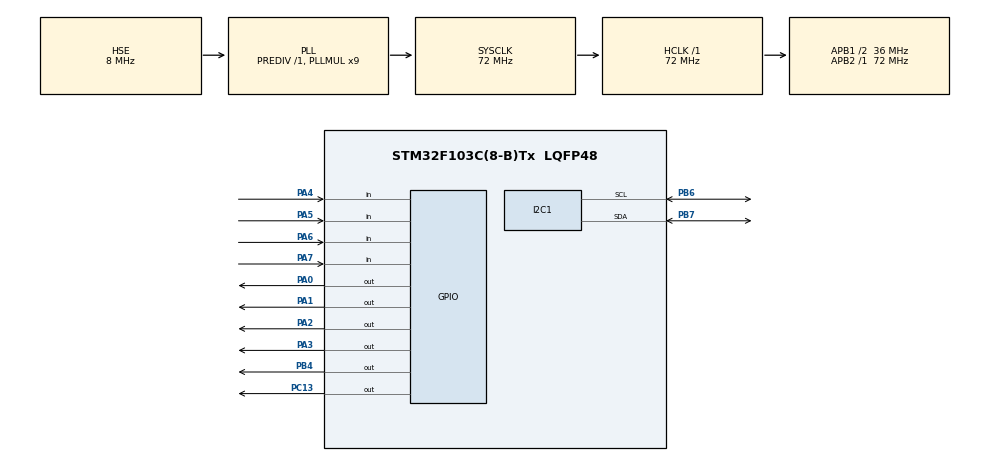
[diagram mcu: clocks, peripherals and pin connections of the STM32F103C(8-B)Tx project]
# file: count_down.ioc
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Mcu.Family=STM32F1
Mcu.Name=STM32F103C(8-B)Tx
Mcu.Package=LQFP48
NVIC.PriorityGroup=NVIC_PRIORITYGROUP_4
NVIC.TIM1_BRK_IRQn=true\:0\:0\:false\:false\:true\:true\:true
NVIC.TIM2_IRQn=true\:0\:0\:false\:false\:true\:true\:true
PA0-WKUP.GPIO_Speed=GPIO_SPEED_FREQ_LOW
PA0-WKUP.PinState=GPIO_PIN_SET
PA0-WKUP.Signal=GPIO_Output
PA1.GPIO_Speed=GPIO_SPEED_FREQ_LOW
PA1.PinState=GPIO_PIN_SET
PA1.Signal=GPIO_Output
PA13.Mode=Serial_Wire
PA13.Signal=SYS_JTMS-SWDIO
PA14.Mode=Serial_Wire
PA14.Signal=SYS_JTCK-SWCLK
PA2.PinState=GPIO_PIN_SET
PA2.Signal=GPIO_Output
PA3.PinState=GPIO_PIN_SET
PA3.Signal=GPIO_Output
PA4.GPIO_PuPd=GPIO_PULLDOWN
PA4.Signal=GPIO_Input
PA5.GPIO_PuPd=GPIO_PULLDOWN
PA5.Signal=GPIO_Input
PA6.GPIO_PuPd=GPIO_PULLDOWN
PA6.Signal=GPIO_Input
PA7.GPIO_PuPd=GPIO_PULLDOWN
PA7.Signal=GPIO_Input
PB4.GPIO_Speed=GPIO_SPEED_FREQ_HIGH
PB4.PinState=GPIO_PIN_SET
PB4.Signal=GPIO_Output
PB6.Mode=I2C
PB6.Signal=I2C1_SCL
PB7.Mode=I2C
PB7.Signal=I2C1_SDA
PC13-TAMPER-RTC.Signal=GPIO_Output
PD0-OSC_IN.Mode=HSE-External-Oscillator
PD0-OSC_IN.Signal=RCC_OSC_IN
PD1-OSC_OUT.Mode=HSE-External-Oscillator
PD1-OSC_OUT.Signal=RCC_OSC_OUT
ProjectManager.HeapSize=0x200
ProjectManager.StackSize=0x400
ProjectManager.TargetToolchain=MDK-ARM V5
RCC.AHBFreq_Value=72000000
RCC.APB1CLKDivider=RCC_HCLK_DIV2
RCC.APB1Freq_Value=36000000
RCC.APB1TimFreq_Value=72000000
RCC.APB2Freq_Value=72000000
RCC.APB2TimFreq_Value=72000000
RCC.HCLKFreq_Value=72000000
RCC.PLLMUL=RCC_PLL_MUL9
RCC.PLLSourceVirtual=RCC_PLLSOURCE_HSE
RCC.SYSCLKFreq_VALUE=72000000
RCC.SYSCLKSource=RCC_SYSCLKSOURCE_PLLCLK
RCC.USBFreq_Value=72000000
TIM1.Period=1999
TIM1.Prescaler=36000
TIM2.Period=1999
TIM2.Prescaler=36000
VP_TIM1_VS_ClockSourceINT.Mode=Internal
VP_TIM2_VS_ClockSourceINT.Mode=Internal
board=custom

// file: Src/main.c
/* USER CODE BEGIN Header */
/**
  ******************************************************************************
  * @file           : main.c
  * @brief          : Main program body
  ******************************************************************************
  * @attention
  *
  * <h2><center>&copy; Copyright (c) 2020 STMicroelectronics.
  * All rights reserved.</center></h2>
  *
  * This software component is licensed by ST under BSD 3-Clause license,
  * the "License"; You may not use this file except in compliance with the
  * License. You may obtain a copy of the License at:
  *                        opensource.org/licenses/BSD-3-Clause
  *
  ******************************************************************************
  */
/* USER CODE END Header */

#include "main.h"

I2C_HandleTypeDef hi2c1;

TIM_HandleTypeDef htim1;
TIM_HandleTypeDef htim2;

/* USER CODE BEGIN PV */
char text[1] = "";
char seconds_s[8] = "0";
char* status="";
int minutes=0,seconds=0, flag_led=0,flag_set=0,flag_clr=0,flag_time=0;
int array[6];
int i=0,dv;
int j=11;
/* USER CODE END PV */

void SystemClock_Config(void);
static void MX_GPIO_Init(void);
static void MX_I2C1_Init(void);
static void MX_TIM1_Init(void);
static void MX_TIM2_Init(void);

/* USER CODE BEGIN 0 */
int keyboard(int delay);     //
void clear()
{
	if(flag_clr==1)
	{
		lcd_clear_display();
		flag_clr=0;
	}

}
void clear_time()
{
	if(flag_time==1)
	{
		seconds=0;
		minutes=0;
		dv=0;
		for(int i=0;i<7;i++)
		{
			array[i]=0;
		}
		flag_time=0;
	}

}
int convert()
{
	 j-=2;
	 for(int k=11;k<=j;k++)
	 {
			dv+=array[j-k]*pow(10,(k-11));
	 }
	 return dv;
}
/* USER CODE END 0 */

int main(void)
{

  /* MCU Configuration--------------------------------------------------------*/

  /* Reset of all peripherals, Initializes the Flash interface and the Systick. */
  HAL_Init();

  /* Configure the system clock */
  SystemClock_Config();

  /* Initialize all configured peripherals */
  MX_GPIO_Init();
  MX_I2C1_Init();
  MX_TIM1_Init();
  MX_TIM2_Init();
  /* USER CODE BEGIN 2 */
	HAL_TIM_Base_Start_IT(&htim2);
	HAL_Delay(1000);

	lcd_init();
	j=11;
  /* USER CODE END 2 */

  /* Infinite loop */
  while (1)
  {

    /* USER CODE BEGIN 3 */
		//-----------------------------------HANG 1
		clear();                              // clear lcd
		lcd_goto_XY(1,0);
		lcd_send_string("so giay: ");
		HAL_Delay(5);
		if(seconds==0)												// test seconds
		{
			lcd_goto_XY(2,0);
			lcd_send_string("led: OFF ");
			HAL_GPIO_WritePin(GPIOB,GPIO_PIN_4,0);
		}
		else if(seconds!=0)
		{
			HAL_GPIO_WritePin(GPIOB,GPIO_PIN_4,1);
			lcd_goto_XY(2,0);
			lcd_send_string("led: ON");
		}
			sprintf(seconds_s,"%d",seconds);
			strcat(seconds_s,"        ");
			lcd_goto_XY(1,10);
			lcd_send_string(seconds_s);					//print sencond to lcd
		 if(keyboard(10)==1)									// time for get key is 10ms
		 {
			 if(*text == '#' )
			 {
				 lcd_clear_display();

				 flag_set=1;
				 flag_clr=1;
				 flag_time=1;
				 HAL_Delay(3000);
			 }
		 }

		 while(flag_set==1)
		{
			clear();
			clear_time();
			lcd_goto_XY(1,0);
			lcd_send_string("nhap phut: ");
			lcd_goto_XY(2,0);
			lcd_send_string("led: OFF ");
			HAL_GPIO_WritePin(GPIOB,GPIO_PIN_4,0);
			if(keyboard(20)==1)
		 {
			lcd_goto_XY(1,j);
			array[j-11]=(int)*text-48;
			lcd_send_string(text);
			 j+=1;
			 if(*text == '*' )		//set mode import time
			 {
				 flag_clr=1;				//set flag clear lcd
				 flag_set=2;				//flag mode
				 minutes=convert();
				 dv=0;
				 j=11;
				 lcd_clear_display();
				 HAL_Delay(1000);
			 }
			 else if(*text == '#' )		//set mode out
			 {
				 flag_set=0;
				 flag_clr=1;
//				 j-=2;
//				 minutes=convert();
//				 seconds=minutes*60;
				 dv=0;
				 j=11;
			 }
		 }
		}
		while(flag_set==2)
		{
			clear();
			clear_time();
			lcd_goto_XY(1,0);
			lcd_send_string("nhap giay: ");
			lcd_goto_XY(2,0);
			lcd_send_string("led: OFF ");

			if(keyboard(40)==1)
		 {
			lcd_goto_XY(1,j);
			array[j-11]=(int)*text-48;

			lcd_send_string(text);
			 j+=1;
			 if(*text == '*' )
			 {
				 flag_set=0;
				 flag_clr=1;
				 flag_time=1;
				 seconds= convert();
				 seconds+=minutes*60;
				 j=11;
			 }
			 if(*text == '#' )
			 {
				 flag_set=0;
				 flag_clr=1;
				 j-=2;
				 seconds=convert();
				 seconds+=minutes*60;
				 j=11;
			 }
			 else if(*text == 'C' )
			 {
				 lcd_clear_display();
				 flag_set=0;
				 flag_led=0;
			 }
		 }
		}
  }
  /* USER CODE END 3 */
}

void SystemClock_Config(void)
{
  RCC_OscInitTypeDef RCC_OscInitStruct = {0};
  RCC_ClkInitTypeDef RCC_ClkInitStruct = {0};

  /** Initializes the CPU, AHB and APB busses clocks
  */
  RCC_OscInitStruct.OscillatorType = RCC_OSCILLATORTYPE_HSE;
  RCC_OscInitStruct.HSEState = RCC_HSE_ON;
  RCC_OscInitStruct.HSEPredivValue = RCC_HSE_PREDIV_DIV1;
  RCC_OscInitStruct.HSIState = RCC_HSI_ON;
  RCC_OscInitStruct.PLL.PLLState = RCC_PLL_ON;
  RCC_OscInitStruct.PLL.PLLSource = RCC_PLLSOURCE_HSE;
  RCC_OscInitStruct.PLL.PLLMUL = RCC_PLL_MUL9;
  if (HAL_RCC_OscConfig(&RCC_OscInitStruct) != HAL_OK)
  {
    Error_Handler();
  }
  /** Initializes the CPU, AHB and APB busses clocks
  */
  RCC_ClkInitStruct.ClockType = RCC_CLOCKTYPE_HCLK|RCC_CLOCKTYPE_SYSCLK
                              |RCC_CLOCKTYPE_PCLK1|RCC_CLOCKTYPE_PCLK2;
  RCC_ClkInitStruct.SYSCLKSource = RCC_SYSCLKSOURCE_PLLCLK;
  RCC_ClkInitStruct.AHBCLKDivider = RCC_SYSCLK_DIV1;
  RCC_ClkInitStruct.APB1CLKDivider = RCC_HCLK_DIV2;
  RCC_ClkInitStruct.APB2CLKDivider = RCC_HCLK_DIV1;

  if (HAL_RCC_ClockConfig(&RCC_ClkInitStruct, FLASH_LATENCY_2) != HAL_OK)
  {
    Error_Handler();
  }
}

static void MX_I2C1_Init(void)
{

  hi2c1.Instance = I2C1;
  hi2c1.Init.ClockSpeed = 100000;
  hi2c1.Init.DutyCycle = I2C_DUTYCYCLE_2;
  hi2c1.Init.OwnAddress1 = 0;
  hi2c1.Init.AddressingMode = I2C_ADDRESSINGMODE_7BIT;
  hi2c1.Init.DualAddressMode = I2C_DUALADDRESS_DISABLE;
  hi2c1.Init.OwnAddress2 = 0;
  hi2c1.Init.GeneralCallMode = I2C_GENERALCALL_DISABLE;
  hi2c1.Init.NoStretchMode = I2C_NOSTRETCH_DISABLE;
  if (HAL_I2C_Init(&hi2c1) != HAL_OK)
  {
    Error_Handler();
  }

}

static void MX_TIM1_Init(void)
{

  TIM_ClockConfigTypeDef sClockSourceConfig = {0};
  TIM_MasterConfigTypeDef sMasterConfig = {0};

  htim1.Instance = TIM1;
  htim1.Init.Prescaler = 36000;
  htim1.Init.CounterMode = TIM_COUNTERMODE_UP;
  htim1.Init.Period = 1999;
  htim1.Init.ClockDivision = TIM_CLOCKDIVISION_DIV1;
  htim1.Init.RepetitionCounter = 0;
  htim1.Init.AutoReloadPreload = TIM_AUTORELOAD_PRELOAD_DISABLE;
  if (HAL_TIM_Base_Init(&htim1) != HAL_OK)
  {
    Error_Handler();
  }
  sClockSourceConfig.ClockSource = TIM_CLOCKSOURCE_INTERNAL;
  if (HAL_TIM_ConfigClockSource(&htim1, &sClockSourceConfig) != HAL_OK)
  {
    Error_Handler();
  }
  sMasterConfig.MasterOutputTrigger = TIM_TRGO_RESET;
  sMasterConfig.MasterSlaveMode = TIM_MASTERSLAVEMODE_DISABLE;
  if (HAL_TIMEx_MasterConfigSynchronization(&htim1, &sMasterConfig) != HAL_OK)
  {
    Error_Handler();
  }

}

static void MX_TIM2_Init(void)
{

  TIM_ClockConfigTypeDef sClockSourceConfig = {0};
  TIM_MasterConfigTypeDef sMasterConfig = {0};

  htim2.Instance = TIM2;
  htim2.Init.Prescaler = 36000;
  htim2.Init.CounterMode = TIM_COUNTERMODE_UP;
  htim2.Init.Period = 1999;
  htim2.Init.ClockDivision = TIM_CLOCKDIVISION_DIV1;
  htim2.Init.AutoReloadPreload = TIM_AUTORELOAD_PRELOAD_DISABLE;
  if (HAL_TIM_Base_Init(&htim2) != HAL_OK)
  {
    Error_Handler();
  }
  sClockSourceConfig.ClockSource = TIM_CLOCKSOURCE_INTERNAL;
  if (HAL_TIM_ConfigClockSource(&htim2, &sClockSourceConfig) != HAL_OK)
  {
    Error_Handler();
  }
  sMasterConfig.MasterOutputTrigger = TIM_TRGO_RESET;
  sMasterConfig.MasterSlaveMode = TIM_MASTERSLAVEMODE_DISABLE;
  if (HAL_TIMEx_MasterConfigSynchronization(&htim2, &sMasterConfig) != HAL_OK)
  {
    Error_Handler();
  }

}

static void MX_GPIO_Init(void)
{
  GPIO_InitTypeDef GPIO_InitStruct = {0};

  /* GPIO Ports Clock Enable */
  __HAL_RCC_GPIOC_CLK_ENABLE();
  __HAL_RCC_GPIOD_CLK_ENABLE();
  __HAL_RCC_GPIOA_CLK_ENABLE();
  __HAL_RCC_GPIOB_CLK_ENABLE();

  /*Configure GPIO pin Output Level */
  HAL_GPIO_WritePin(GPIOC, GPIO_PIN_13, GPIO_PIN_RESET);

  /*Configure GPIO pin Output Level */
  HAL_GPIO_WritePin(GPIOA, GPIO_PIN_0|GPIO_PIN_1|GPIO_PIN_2|GPIO_PIN_3, GPIO_PIN_SET);

  /*Configure GPIO pin Output Level */
  HAL_GPIO_WritePin(GPIOB, GPIO_PIN_4, GPIO_PIN_SET);

  /*Configure GPIO pin : PC13 */
  GPIO_InitStruct.Pin = GPIO_PIN_13;
  GPIO_InitStruct.Mode = GPIO_MODE_OUTPUT_PP;
  GPIO_InitStruct.Pull = GPIO_NOPULL;
  GPIO_InitStruct.Speed = GPIO_SPEED_FREQ_LOW;
  HAL_GPIO_Init(GPIOC, &GPIO_InitStruct);

  /*Configure GPIO pins : PA0 PA1 PA2 PA3 */
  GPIO_InitStruct.Pin = GPIO_PIN_0|GPIO_PIN_1|GPIO_PIN_2|GPIO_PIN_3;
  GPIO_InitStruct.Mode = GPIO_MODE_OUTPUT_PP;
  GPIO_InitStruct.Pull = GPIO_NOPULL;
  GPIO_InitStruct.Speed = GPIO_SPEED_FREQ_LOW;
  HAL_GPIO_Init(GPIOA, &GPIO_InitStruct);

  /*Configure GPIO pins : PA4 PA5 PA6 PA7 */
  GPIO_InitStruct.Pin = GPIO_PIN_4|GPIO_PIN_5|GPIO_PIN_6|GPIO_PIN_7;
  GPIO_InitStruct.Mode = GPIO_MODE_INPUT;
  GPIO_InitStruct.Pull = GPIO_PULLDOWN;
  HAL_GPIO_Init(GPIOA, &GPIO_InitStruct);

  /*Configure GPIO pin : PB4 */
  GPIO_InitStruct.Pin = GPIO_PIN_4;
  GPIO_InitStruct.Mode = GPIO_MODE_OUTPUT_PP;
  GPIO_InitStruct.Pull = GPIO_NOPULL;
  GPIO_InitStruct.Speed = GPIO_SPEED_FREQ_HIGH;
  HAL_GPIO_Init(GPIOB, &GPIO_InitStruct);

}

/* USER CODE BEGIN 4 */
void HAL_TIM_PeriodElapsedCallback(TIM_HandleTypeDef *htim)
	{
		if(seconds!=0)
			{
				if(htim->Instance==htim2.Instance)     //timer 2 count down
				{
//					HAL_GPIO_TogglePin(GPIOC,GPIO_PIN_13);
					seconds-=1;
				}
			}
	}

int keyboard(int delay)
{
		 i=0;
		text[0]=' ';
		HAL_GPIO_WritePin(GPIOA,GPIO_PIN_0,1);
		if(HAL_GPIO_ReadPin(GPIOA,GPIO_PIN_4)==1)
		{
			while(i<delay)
			{
				i+=1;
				if(HAL_GPIO_ReadPin(GPIOA,GPIO_PIN_4)!=1)
					return 0;
				HAL_Delay(1);
			}
			text[0]='1';
			while(HAL_GPIO_ReadPin(GPIOA,GPIO_PIN_4)==1);
			return 1;
		}
		else if(HAL_GPIO_ReadPin(GPIOA,GPIO_PIN_5)==1)
		{
			while(i<delay)
			{
				i+=1;
				if(HAL_GPIO_ReadPin(GPIOA,GPIO_PIN_5)!=1)
					return 0;
				HAL_Delay(1);
			}
			text[0]='2';
			while(HAL_GPIO_ReadPin(GPIOA,GPIO_PIN_5)==1);
			return 1;
		}
		else if(HAL_GPIO_ReadPin(GPIOA,GPIO_PIN_6)==1)
		{
			while(i<delay)
			{
				i+=1;
				if(HAL_GPIO_ReadPin(GPIOA,GPIO_PIN_6)!=1)
					return 0;
				HAL_Delay(1);
			}
			text[0]='3';
			while(HAL_GPIO_ReadPin(GPIOA,GPIO_PIN_6)==1);
			return 1;
		}
		else if(HAL_GPIO_ReadPin(GPIOA,GPIO_PIN_7)==1)
		{
			while(i<delay)
			{
				i+=1;
				if(HAL_GPIO_ReadPin(GPIOA,GPIO_PIN_7)!=1)
					return 0;
				HAL_Delay(1);
			}
			text[0]='A';
			while(HAL_GPIO_ReadPin(GPIOA,GPIO_PIN_7)==1);
			return 1;
		}
		HAL_GPIO_WritePin(GPIOA,GPIO_PIN_0,0);
//		HAL_Delay(100);
		//-----------------------------------HANG 2
		HAL_GPIO_WritePin(GPIOA,GPIO_PIN_1,1);
		if(HAL_GPIO_ReadPin(GPIOA,GPIO_PIN_4)==1)
		{
			i=0;
			while(i<delay)
			{
				i+=1;
				if(HAL_GPIO_ReadPin(GPIOA,GPIO_PIN_4)!=1)
					return 0;
				HAL_Delay(1);
			}
			text[0]='4';
			while(HAL_GPIO_ReadPin(GPIOA,GPIO_PIN_4)==1);
			return 1;
		}
		else if(HAL_GPIO_ReadPin(GPIOA,GPIO_PIN_5)==1)
		{
			while(i<delay)
			{
				i+=1;
				if(HAL_GPIO_ReadPin(GPIOA,GPIO_PIN_5)!=1)
					return 0;
				HAL_Delay(1);
			}
			text[0]='5';
			while(HAL_GPIO_ReadPin(GPIOA,GPIO_PIN_5)==1);
			return 1;
		}
		else if(HAL_GPIO_ReadPin(GPIOA,GPIO_PIN_6)==1)
		{
			while(i<delay)
			{
				i+=1;
				if(HAL_GPIO_ReadPin(GPIOA,GPIO_PIN_6)!=1)
					return 0;
				HAL_Delay(1);
			}
			text[0]='6';
			while(HAL_GPIO_ReadPin(GPIOA,GPIO_PIN_6)==1);
			return 1;
		}
		else if(HAL_GPIO_ReadPin(GPIOA,GPIO_PIN_7)==1)
		{
			while(i<delay)
			{
				i+=1;
				if(HAL_GPIO_ReadPin(GPIOA,GPIO_PIN_7)!=1)
					return 0;
				HAL_Delay(1);
			}
			text[0]='B';
			while(HAL_GPIO_ReadPin(GPIOA,GPIO_PIN_7)==1);
			return 1;
		}
		HAL_GPIO_WritePin(GPIOA,GPIO_PIN_1,0);
		HAL_Delay(100);
		//-----------------------------------HANG 3
		HAL_GPIO_WritePin(GPIOA,GPIO_PIN_2,1);
		if(HAL_GPIO_ReadPin(GPIOA,GPIO_PIN_4)==1)
		{
			while(i<delay)
			{
				i+=1;
				if(HAL_GPIO_ReadPin(GPIOA,GPIO_PIN_4)!=1)
					return 0;
				HAL_Delay(1);
			}
			text[0]='7';
			while(HAL_GPIO_ReadPin(GPIOA,GPIO_PIN_4)==1);
			return 1;
		}
		else if(HAL_GPIO_ReadPin(GPIOA,GPIO_PIN_5)==1)
		{
			while(i<delay)
			{
				i+=1;
				if(HAL_GPIO_ReadPin(GPIOA,GPIO_PIN_5)!=1)
					return 0;
				HAL_Delay(1);
			}
			text[0]='8';
			while(HAL_GPIO_ReadPin(GPIOA,GPIO_PIN_5)==1);
			return 1;
		}
		else if(HAL_GPIO_ReadPin(GPIOA,GPIO_PIN_6)==1)
		{
			while(i<delay)
			{
				i+=1;
				if(HAL_GPIO_ReadPin(GPIOA,GPIO_PIN_6)!=1)
					return 0;
				HAL_Delay(1);
			}
			text[0]='9';
			while(HAL_GPIO_ReadPin(GPIOA,GPIO_PIN_6)==1);
			return 1;
		}
		else if(HAL_GPIO_ReadPin(GPIOA,GPIO_PIN_7)==1)
		{
			while(i<delay)
			{
				i+=1;
				if(HAL_GPIO_ReadPin(GPIOA,GPIO_PIN_7)!=1)
					return 0;
				HAL_Delay(1);
			}
			text[0]='C';
			while(HAL_GPIO_ReadPin(GPIOA,GPIO_PIN_7)==1);
			return 1;
		}
		HAL_GPIO_WritePin(GPIOA,GPIO_PIN_2,0);
		HAL_Delay(100);
		//-----------------------------------HANG 4
		HAL_GPIO_WritePin(GPIOA,GPIO_PIN_3,1);
		if(HAL_GPIO_ReadPin(GPIOA,GPIO_PIN_4)==1)
		{
			while(i<delay)
			{
				i+=1;
				if(HAL_GPIO_ReadPin(GPIOA,GPIO_PIN_4)!=1)
					return 0;
				HAL_Delay(1);
			}
			text[0]='*';
			while(HAL_GPIO_ReadPin(GPIOA,GPIO_PIN_4)==1);
			return 1;
		}
		else if(HAL_GPIO_ReadPin(GPIOA,GPIO_PIN_5)==1)
		{
			while(i<delay)
			{
				i+=1;
				if(HAL_GPIO_ReadPin(GPIOA,GPIO_PIN_5)!=1)
					return 0;
				HAL_Delay(1);
			}
			text[0]='0';
			while(HAL_GPIO_ReadPin(GPIOA,GPIO_PIN_5)==1);
			return 1;
		}
		else if(HAL_GPIO_ReadPin(GPIOA,GPIO_PIN_6)==1)
		{
			while(i<delay)
			{
				i+=1;
				if(HAL_GPIO_ReadPin(GPIOA,GPIO_PIN_6)!=1)
					return 0;
				HAL_Delay(1);
			}
			text[0]='#';
			while(HAL_GPIO_ReadPin(GPIOA,GPIO_PIN_6)==1);
			return 1;
		}
		else if(HAL_GPIO_ReadPin(GPIOA,GPIO_PIN_7)==1)
		{
			while(i<delay)
			{
				i+=1;
				if(HAL_GPIO_ReadPin(GPIOA,GPIO_PIN_7)!=1)
					return 0;
				HAL_Delay(1);
			}
			text[0]='D';
			while(HAL_GPIO_ReadPin(GPIOA,GPIO_PIN_7)==1);
			return 1;
		}
		HAL_GPIO_WritePin(GPIOA,GPIO_PIN_3,0);
		HAL_Delay(100);
}

/* USER CODE END 4 */

void Error_Handler(void)
{
}

/************************ (C) COPYRIGHT STMicroelectronics *****END OF FILE****/
